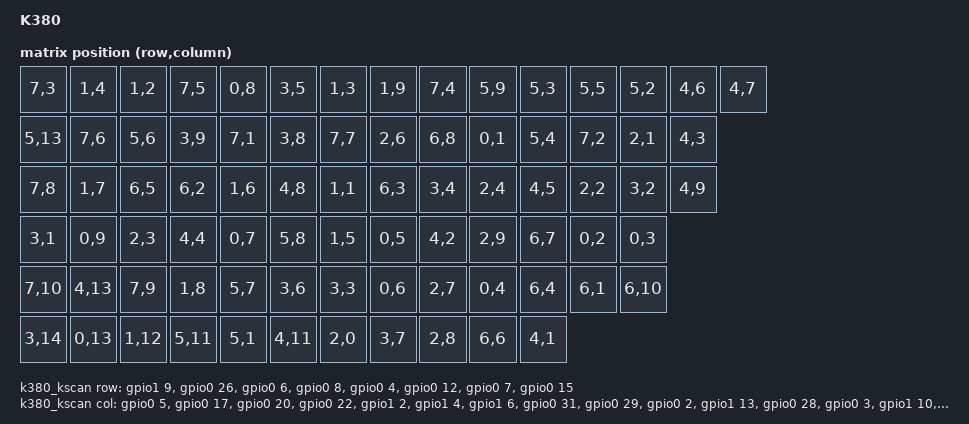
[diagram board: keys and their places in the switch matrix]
/*
 * Copyright (c) 2026
 *
 * SPDX-License-Identifier: MIT
 */

/dts-v1/;
#include <nordic/nrf52840_qiaa.dtsi>
#include <common/nordic/nrf52840_uf2_boot_mode.dtsi>
#include <zephyr/dt-bindings/regulator/nrf5x.h>
#include <dt-bindings/zmk/matrix_transform.h>
#include "k380-layouts.dtsi"

/ {
    model = "K380";
    compatible = "kimwolf,k380";

    chosen {
        zephyr,code-partition = &code_partition;
        zephyr,sram = &sram0;
        zephyr,flash = &flash0;
        zmk,physical-layout = &physical_layout0;
        zmk,kscan = &k380_kscan;
    };

    k380_kscan: k380_kscan {
        compatible = "k380,kscan-no-diode-matrix";
        row-gpios =
            <&gpio1 9 (GPIO_ACTIVE_HIGH | GPIO_OPEN_SOURCE)>,
            <&gpio0 26 (GPIO_ACTIVE_HIGH | GPIO_OPEN_SOURCE)>,
            <&gpio0 6 (GPIO_ACTIVE_HIGH | GPIO_OPEN_SOURCE)>,
            <&gpio0 8 (GPIO_ACTIVE_HIGH | GPIO_OPEN_SOURCE)>,
            <&gpio0 4 (GPIO_ACTIVE_HIGH | GPIO_OPEN_SOURCE)>,
            <&gpio0 12 (GPIO_ACTIVE_HIGH | GPIO_OPEN_SOURCE)>,
            <&gpio0 7 (GPIO_ACTIVE_HIGH | GPIO_OPEN_SOURCE)>,
            <&gpio0 15 (GPIO_ACTIVE_HIGH | GPIO_OPEN_SOURCE)>;
        col-gpios =
            <&gpio0 5 GPIO_PULL_DOWN>,
            <&gpio0 17 GPIO_PULL_DOWN>,
            <&gpio0 20 GPIO_PULL_DOWN>,
            <&gpio0 22 GPIO_PULL_DOWN>,
            <&gpio1 2 GPIO_PULL_DOWN>,
            <&gpio1 4 GPIO_PULL_DOWN>,
            <&gpio1 6 GPIO_PULL_DOWN>,
            <&gpio0 31 GPIO_PULL_DOWN>,
            <&gpio0 29 GPIO_PULL_DOWN>,
            <&gpio0 2 GPIO_PULL_DOWN>,
            <&gpio1 13 GPIO_PULL_DOWN>,
            <&gpio0 28 GPIO_PULL_DOWN>,
            <&gpio0 3 GPIO_PULL_DOWN>,
            <&gpio1 10 GPIO_PULL_DOWN>,
            <&gpio1 11 GPIO_PULL_DOWN>;
        debounce-press-ms = <5>;
        debounce-release-ms = <5>;
        debounce-scan-period-ms = <1>;
        poll-period-ms = <10>;
    };

    /* ZMK physical layouts require an explicit transform. */
    k380_transform: keymap_transform_0 {
        compatible = "zmk,matrix-transform";
        columns = <15>;
        rows = <8>;
        map = <
            RC(7,3)  RC(1,4)  RC(1,2)  RC(7,5)  RC(0,8)  RC(3,5)  RC(1,3)  RC(1,9)  RC(7,4)  RC(5,9)  RC(5,3)  RC(5,5)  RC(5,2)  RC(4,6)  RC(4,7)
            RC(5,13) RC(7,6)  RC(5,6)  RC(3,9)  RC(7,1)  RC(3,8)  RC(7,7)  RC(2,6)  RC(6,8)  RC(0,1)  RC(5,4)  RC(7,2)  RC(2,1)  RC(4,3)
            RC(7,8)  RC(1,7)  RC(6,5)  RC(6,2)  RC(1,6)  RC(4,8)  RC(1,1)  RC(6,3)  RC(3,4)  RC(2,4)  RC(4,5)  RC(2,2)  RC(3,2)  RC(4,9)
            RC(3,1)  RC(0,9)  RC(2,3)  RC(4,4)  RC(0,7)  RC(5,8)  RC(1,5)  RC(0,5)  RC(4,2)  RC(2,9)  RC(6,7)  RC(0,2)  RC(0,3)
            RC(7,10) RC(4,13) RC(7,9)  RC(1,8)  RC(5,7)  RC(3,6)  RC(3,3)  RC(0,6)  RC(2,7)  RC(0,4)  RC(6,4)  RC(6,1)  RC(6,10)
            RC(3,14) RC(0,13) RC(1,12) RC(5,11) RC(5,1)  RC(4,11) RC(2,0)  RC(3,7)  RC(2,8)  RC(6,6)  RC(4,1)
        >;
    };
};

&physical_layout0 {
    transform = <&k380_transform>;
};

&reg1 {
    regulator-initial-mode = <NRF5X_REG_MODE_DCDC>;
};

zephyr_udc0: &usbd {
    status = "okay";
};

&gpiote {
    status = "okay";
};

&gpio0 {
    status = "okay";
};

&gpio1 {
    status = "okay";
};

&flash0 {
    partitions {
        compatible = "fixed-partitions";
        #address-cells = <1>;
        #size-cells = <1>;

        mbr_softdevice_partition: partition@0 {
            reg = <0x00000000 0x00026000>;
            read-only;
        };

        code_partition: partition@26000 {
            reg = <0x00026000 0x000A4000>;
        };

        storage_partition: partition@ca000 {
            reg = <0x000CA000 0x00020000>;
        };

        dfu_app_data_partition: partition@ea000 {
            reg = <0x000EA000 0x0000A000>;
            read-only;
        };

        boot_partition: partition@f4000 {
            reg = <0x000F4000 0x0000C000>;
            read-only;
        };
    };
};
